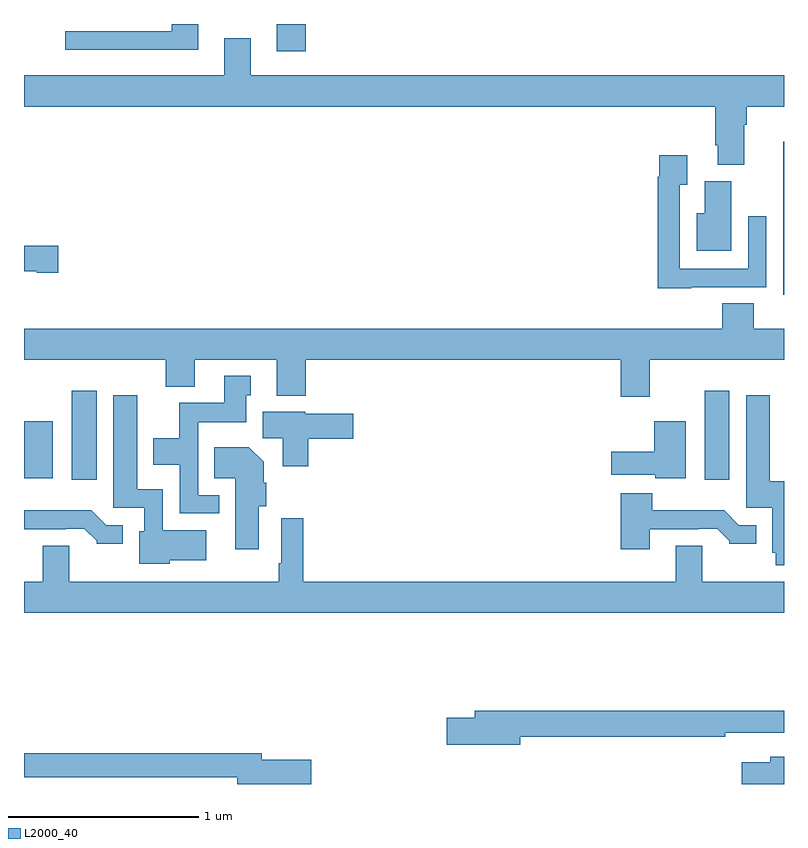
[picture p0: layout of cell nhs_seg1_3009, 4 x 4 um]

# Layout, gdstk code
import gdstk
lib = gdstk.Library(unit=1e-6, precision=1e-09)
def R(c, l, rs):  # rectangles x0, y0, x1, y1
    for r in rs: c.add(gdstk.rectangle(r[:2], r[2:], *l))
def P(c, l, *ps):  # polygons
    for p in ps: c.add(gdstk.Polygon(p, *l))
L2000_40 = (2000, 40)

nhs_seg1_3009 = lib.new_cell('nhs_seg1_3009')
R(nhs_seg1_3009, L2000_40, [(275.252,517.8,275.383,518.269), (278.582,517.8,278.713,518.269), (275,517.808,275.152,518.107), (276.329,520.056,276.482,520.199)])
P(nhs_seg1_3009, L2000_40, [(275.917,520.199),(275.777,520.199),(275.777,520.161),(275.217,520.161),(275.217,520.064),(275.917,520.064)],
  [(278.791,519.668),(278.804,519.668),(278.804,519.764),(279,519.764),(279,519.928),(276.193,519.928),(276.193,520.123),(276.053,520.123),(276.053,519.928),(275,519.928),(275,519.764),(278.639,519.764),(278.639,519.562),(278.651,519.562),(278.651,519.457),(278.791,519.457)],
  [(279,519.578),(278.996,519.578),(278.996,519.274),(278.997,519.274),(278.997,518.775),(279,518.775)],
  [(278.511,518.814),(278.907,518.814),(278.907,519.187),(278.811,519.187),(278.811,518.91),(278.451,518.91),(278.451,519.352),(278.491,519.352),(278.491,519.508),(278.343,519.508),(278.343,519.395),(278.335,519.395),(278.335,518.807),(278.511,518.807)],
  [(278.722,519.371),(278.582,519.371),(278.582,519.202),(278.54,519.202),(278.54,519.005),(278.722,519.005)],
  [(275.179,519.032),(275,519.032),(275,518.897),(275.066,518.897),(275.066,518.89),(275.179,518.89)],
  [(278.293,518.432),(279,518.432),(279,518.596),(278.84,518.596),(278.84,518.729),(278.675,518.729),(278.675,518.596),(275,518.596),(275,518.432),(275.747,518.432),(275.747,518.291),(275.899,518.291),(275.899,518.432),(276.329,518.432),(276.329,518.243),(276.482,518.243),(276.482,518.432),(278.141,518.432),(278.141,518.238),(278.293,518.238)],
  [(276.028,517.719),(275.916,517.719),(275.916,518.102),(276.169,518.102),(276.169,518.244),(276.193,518.244),(276.193,518.347),(276.053,518.347),(276.053,518.206),(275.818,518.206),(275.818,518.02),(275.681,518.02),(275.681,517.88),(275.82,517.88),(275.82,517.623),(276.028,517.623)],
  [(275.766,517.376),(275.959,517.376),(275.959,517.534),(275.73,517.534),(275.73,517.75),(275.596,517.75),(275.596,518.245),(275.471,518.245),(275.471,517.653),(275.634,517.653),(275.634,517.53),(275.606,517.53),(275.606,517.358),(275.766,517.358)],
  [(279,517.792),(278.926,517.792),(278.926,518.245),(278.801,518.245),(278.801,517.653),(278.939,517.653),(278.939,517.416),(278.956,517.416),(278.956,517.35),(279,517.35)],
  [(276.497,518.015),(276.733,518.015),(276.733,518.149),(276.48,518.149),(276.48,518.158),(276.257,518.158),(276.257,518.02),(276.362,518.02),(276.362,517.871),(276.497,517.871)],
  [(278.482,518.107),(278.318,518.107),(278.318,517.948),(278.091,517.948),(278.091,517.826),(278.322,517.826),(278.322,517.808),(278.482,517.808)],
  [(276.235,517.662),(276.275,517.662),(276.275,517.784),(276.262,517.784),(276.262,517.894),(276.184,517.972),(276.001,517.972),(276.001,517.808),(276.113,517.808),(276.113,517.434),(276.235,517.434)],
  [(278.293,517.539),(278.549,517.539),(278.549,517.542),(278.648,517.542),(278.712,517.478),(278.712,517.463),(278.854,517.463),(278.854,517.56),(278.763,517.56),(278.685,517.639),(278.306,517.639),(278.306,517.729),(278.141,517.729),(278.141,517.434),(278.293,517.434)],
  [(275.521,517.56),(275.433,517.56),(275.355,517.639),(275,517.639),(275,517.539),(275.219,517.539),(275.219,517.542),(275.318,517.542),(275.382,517.478),(275.382,517.463),(275.521,517.463)],
  [(279,517.264),(278.569,517.264),(278.569,517.454),(278.429,517.454),(278.429,517.264),(276.47,517.264),(276.47,517.597),(276.354,517.597),(276.354,517.36),(276.342,517.36),(276.342,517.264),(275.239,517.264),(275.239,517.454),(275.099,517.454),(275.099,517.264),(275,517.264),(275,517.1),(279,517.1)],
  [(277.612,516.448),(278.69,516.448),(278.69,516.468),(279,516.468),(279,516.584),(277.373,516.584),(277.373,516.548),(277.224,516.548),(277.224,516.406),(277.612,516.406)],
  [(276.511,516.326),(276.25,516.326),(276.25,516.362),(275,516.362),(275,516.234),(276.122,516.234),(276.122,516.199),(276.511,516.199)],
  [(279,516.342),(278.927,516.342),(278.927,516.313),(278.778,516.313),(278.778,516.199),(279,516.199)])

lib.write_gds('nhs_seg1_3009.gds')
